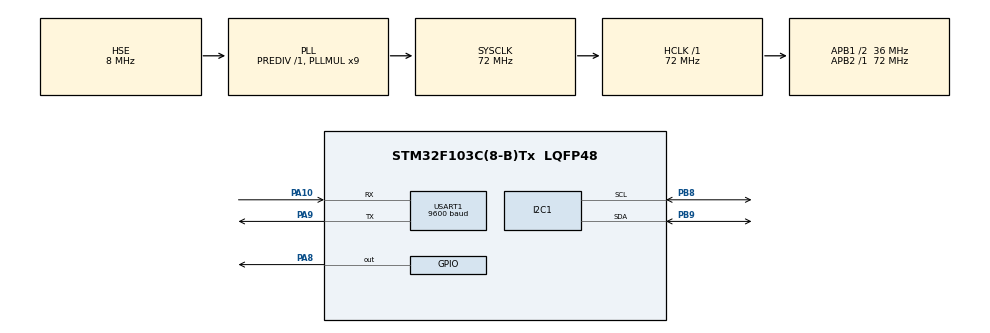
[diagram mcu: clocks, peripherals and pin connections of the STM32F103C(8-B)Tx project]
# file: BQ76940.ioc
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FREERTOS.Mutexes01=bmsDataMutex,Dynamic,NULL,Available
FREERTOS.Tasks01=SampleTask,32,128,StartSampleTask,Default,NULL,Dynamic,NULL,NULL;CommTask,8,128,StartCommTask,Default,NULL,Dynamic,NULL,NULL;balanceTask,23,128,StartbalanceTask,Default,NULL,Dynamic,NULL,NULL;protectTask,24,128,StartprotectTask,Default,NULL,Dynamic,NULL,NULL
FREERTOS.configUSE_NEWLIB_REENTRANT=1
Mcu.Family=STM32F1
Mcu.Name=STM32F103C(8-B)Tx
Mcu.Package=LQFP48
NVIC.PriorityGroup=NVIC_PRIORITYGROUP_4
NVIC.TIM1_UP_IRQn=true\:15\:0\:false\:false\:true\:false\:false\:true\:true
NVIC.TimeBase=TIM1_UP_IRQn
NVIC.TimeBaseIP=TIM1
PA10.Mode=Asynchronous
PA10.Signal=USART1_RX
PA13.Mode=Serial_Wire
PA13.Signal=SYS_JTMS-SWDIO
PA14.Mode=Serial_Wire
PA14.Signal=SYS_JTCK-SWCLK
PA8.Signal=GPIO_Output
PA9.Mode=Asynchronous
PA9.Signal=USART1_TX
PB8.Mode=I2C
PB8.Signal=I2C1_SCL
PB9.Mode=I2C
PB9.Signal=I2C1_SDA
PD0-OSC_IN.Mode=HSE-External-Oscillator
PD0-OSC_IN.Signal=RCC_OSC_IN
PD1-OSC_OUT.Mode=HSE-External-Oscillator
PD1-OSC_OUT.Signal=RCC_OSC_OUT
ProjectManager.HeapSize=0x200
ProjectManager.StackSize=0x400
ProjectManager.TargetToolchain=STM32CubeIDE
RCC.AHBFreq_Value=72000000
RCC.APB1CLKDivider=RCC_HCLK_DIV2
RCC.APB1Freq_Value=36000000
RCC.APB1TimFreq_Value=72000000
RCC.APB2Freq_Value=72000000
RCC.APB2TimFreq_Value=72000000
RCC.HCLKFreq_Value=72000000
RCC.PLLMUL=RCC_PLL_MUL9
RCC.PLLSourceVirtual=RCC_PLLSOURCE_HSE
RCC.SYSCLKFreq_VALUE=72000000
RCC.SYSCLKSource=RCC_SYSCLKSOURCE_PLLCLK
RCC.USBFreq_Value=72000000
USART1.BaudRate=9600
USART1.VirtualMode=VM_ASYNC
VP_FREERTOS_VS_CMSIS_V2.Mode=CMSIS_V2
VP_SYS_VS_tim1.Mode=TIM1
board=custom

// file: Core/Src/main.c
/* USER CODE BEGIN Header */
/**
  ******************************************************************************
  * @file           : main.c
  * @brief          : Main program body
  ******************************************************************************
  * @attention
  *
  * Copyright (c) 2026 STMicroelectronics.
  * All rights reserved.
  *
  * This software is licensed under terms that can be found in the LICENSE file
  * in the root directory of this software component.
  * If no LICENSE file comes with this software, it is provided AS-IS.
  *
  ******************************************************************************
  */
/* USER CODE END Header */
#include "main.h"
#include "cmsis_os.h"
#include "i2c.h"
#include "usart.h"
#include "gpio.h"

void SystemClock_Config(void);
void MX_FREERTOS_Init(void);

int main(void)
{

  /* MCU Configuration--------------------------------------------------------*/

  /* Reset of all peripherals, Initializes the Flash interface and the Systick. */
  HAL_Init();

  /* Configure the system clock */
  SystemClock_Config();

  /* Initialize all configured peripherals */
  MX_GPIO_Init();
  MX_I2C1_Init();
  MX_USART1_UART_Init();

  /* Init scheduler */
  osKernelInitialize();  /* Call init function for freertos objects (in cmsis_os2.c) */
  MX_FREERTOS_Init();

  /* Start scheduler */
  osKernelStart();

  /* We should never get here as control is now taken by the scheduler */

  /* Infinite loop */
  while (1)
  {

  }
}

void SystemClock_Config(void)
{
  RCC_OscInitTypeDef RCC_OscInitStruct = {0};
  RCC_ClkInitTypeDef RCC_ClkInitStruct = {0};

  /** Initializes the RCC Oscillators according to the specified parameters
  * in the RCC_OscInitTypeDef structure.
  */
  RCC_OscInitStruct.OscillatorType = RCC_OSCILLATORTYPE_HSE;
  RCC_OscInitStruct.HSEState = RCC_HSE_ON;
  RCC_OscInitStruct.HSEPredivValue = RCC_HSE_PREDIV_DIV1;
  RCC_OscInitStruct.HSIState = RCC_HSI_ON;
  RCC_OscInitStruct.PLL.PLLState = RCC_PLL_ON;
  RCC_OscInitStruct.PLL.PLLSource = RCC_PLLSOURCE_HSE;
  RCC_OscInitStruct.PLL.PLLMUL = RCC_PLL_MUL9;
  if (HAL_RCC_OscConfig(&RCC_OscInitStruct) != HAL_OK)
  {
    Error_Handler();
  }

  /** Initializes the CPU, AHB and APB buses clocks
  */
  RCC_ClkInitStruct.ClockType = RCC_CLOCKTYPE_HCLK|RCC_CLOCKTYPE_SYSCLK
                              |RCC_CLOCKTYPE_PCLK1|RCC_CLOCKTYPE_PCLK2;
  RCC_ClkInitStruct.SYSCLKSource = RCC_SYSCLKSOURCE_PLLCLK;
  RCC_ClkInitStruct.AHBCLKDivider = RCC_SYSCLK_DIV1;
  RCC_ClkInitStruct.APB1CLKDivider = RCC_HCLK_DIV2;
  RCC_ClkInitStruct.APB2CLKDivider = RCC_HCLK_DIV1;

  if (HAL_RCC_ClockConfig(&RCC_ClkInitStruct, FLASH_LATENCY_2) != HAL_OK)
  {
    Error_Handler();
  }
}

void HAL_TIM_PeriodElapsedCallback(TIM_HandleTypeDef *htim)
{
  if (htim->Instance == TIM1)
  {
    HAL_IncTick();
  }
}

void Error_Handler(void)
{
  __disable_irq();
  while (1)
  {
  }
}

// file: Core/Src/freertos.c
/* USER CODE BEGIN Header */
/**
  ******************************************************************************
  * File Name          : freertos.c
  * Description        : Code for freertos applications
  ******************************************************************************
  * @attention
  *
  * Copyright (c) 2026 STMicroelectronics.
  * All rights reserved.
  *
  * This software is licensed under terms that can be found in the LICENSE file
  * in the root directory of this software component.
  * If no LICENSE file comes with this software, it is provided AS-IS.
  *
  ******************************************************************************
  */
/* USER CODE END Header */

#include "FreeRTOS.h"
#include "task.h"
#include "main.h"
#include "cmsis_os.h"

/* USER CODE BEGIN Includes */
#include "BQ76930.h"
#include "usart.h"
#include "i2c.h"
#include "string.h"
/* USER CODE END Includes */

/* Definitions for SampleTask */
osThreadId_t SampleTaskHandle;
const osThreadAttr_t SampleTask_attributes = {
  .name = "SampleTask",
  .stack_size = 128 * 4,
  .priority = (osPriority_t) osPriorityAboveNormal,
};
/* Definitions for CommTask */
osThreadId_t CommTaskHandle;
const osThreadAttr_t CommTask_attributes = {
  .name = "CommTask",
  .stack_size = 128 * 4,
  .priority = (osPriority_t) osPriorityLow,
};
/* Definitions for balanceTask */
osThreadId_t balanceTaskHandle;
const osThreadAttr_t balanceTask_attributes = {
  .name = "balanceTask",
  .stack_size = 128 * 4,
  .priority = (osPriority_t) osPriorityBelowNormal7,
};
/* Definitions for protectTask */
osThreadId_t protectTaskHandle;
const osThreadAttr_t protectTask_attributes = {
  .name = "protectTask",
  .stack_size = 128 * 4,
  .priority = (osPriority_t) osPriorityNormal,
};
/* Definitions for bmsDataMutex */
osMutexId_t bmsDataMutexHandle;
const osMutexAttr_t bmsDataMutex_attributes = {
  .name = "bmsDataMutex"
};

void StartSampleTask(void *argument);
void StartCommTask(void *argument);
void StartbalanceTask(void *argument);
void StartprotectTask(void *argument);

void MX_FREERTOS_Init(void); /* (MISRA C 2004 rule 8.1) */

void MX_FREERTOS_Init(void) {
  /* USER CODE BEGIN Init */
  /* BQ76940 硬件初始化 (必须在调度器启动前，此时 HAL_Delay 安全) */
  HAL_UART_Transmit(&huart1, (uint8_t *)"BQ76940 HW Init...\r\n", 20, HAL_MAX_DELAY);
  WAKE_ALL_DEVICE();
  HAL_UART_Transmit(&huart1, (uint8_t *)"WAKE done\r\n", 11, HAL_MAX_DELAY);
  BQ_1_config();
  HAL_UART_Transmit(&huart1, (uint8_t *)"BQ_1_config done\r\n", 18, HAL_MAX_DELAY);
  Get_offset();
  HAL_UART_Transmit(&huart1, (uint8_t *)"Get_offset done\r\n", 17, HAL_MAX_DELAY);
  OV_UV_1_PROTECT();
  HAL_UART_Transmit(&huart1, (uint8_t *)"OV_UV_1_PROTECT done\r\n", 22, HAL_MAX_DELAY);
  OCD_SCD_PROTECT();
  HAL_UART_Transmit(&huart1, (uint8_t *)"OCD_SCD_PROTECT done\r\n", 22, HAL_MAX_DELAY);
  BQ76940_WriteByte_CRC(SYS_STAT, 0xFF);
  HAL_UART_Transmit(&huart1, (uint8_t *)"HW Init complete\r\n", 18, HAL_MAX_DELAY);
  /* USER CODE END Init */
  /* Create the mutex(es) */
  /* creation of bmsDataMutex */
  bmsDataMutexHandle = osMutexNew(&bmsDataMutex_attributes);

  /* USER CODE BEGIN RTOS_QUEUES */
  /* queues removed - using task notifications instead */
  /* USER CODE END RTOS_QUEUES */

  /* Create the thread(s) */
  /* creation of SampleTask */
  SampleTaskHandle = osThreadNew(StartSampleTask, NULL, &SampleTask_attributes);

  /* creation of CommTask */
  CommTaskHandle = osThreadNew(StartCommTask, NULL, &CommTask_attributes);

  /* creation of balanceTask */
  balanceTaskHandle = osThreadNew(StartbalanceTask, NULL, &balanceTask_attributes);

  /* creation of protectTask */
  protectTaskHandle = osThreadNew(StartprotectTask, NULL, &protectTask_attributes);

}

void StartSampleTask(void *argument)
{
  /* USER CODE BEGIN StartSampleTask */
  HAL_UART_Transmit(&huart1, (uint8_t *)"Sample Task Running\r\n", 21, HAL_MAX_DELAY);

  for(;;)
  {
    // 获取互斥量，保护数据更新
    if(osMutexAcquire(bmsDataMutexHandle, 100) == osOK)
    {
      Get_Battery1();
      Get_Battery2();
      Get_Battery5();
      Get_Battery6();
      Get_Battery7();
      Get_Battery10();
      Get_Battery11();
      Get_Battery12();
      Get_Battery15();
      Get_Update_ALL_Data();
      Get_SOC();
      Get_BQ1_2_Temp();
      Get_BQ_Current();
      BMS_STA();

      // 释放互斥量
      osMutexRelease(bmsDataMutexHandle);

      // 通知消费者任务数据已更新
      xTaskNotifyGive(CommTaskHandle);
      xTaskNotifyGive(protectTaskHandle);
    }

    osDelay(1000);
  }
  /* USER CODE END StartSampleTask */
}

void StartCommTask(void *argument)
{
  /* USER CODE BEGIN StartCommTask */
  HAL_UART_Transmit(&huart1, (uint8_t *)"BQ76940 Comm Task Starting...\r\n", 32, HAL_MAX_DELAY);

  for(;;)
  {
    ulTaskNotifyTake(pdTRUE, osWaitForever);

    // 获取互斥量，安全访问共享数据
    if(osMutexAcquire(bmsDataMutexHandle, 100) == osOK)
    {
      Update_val_usart();
      osMutexRelease(bmsDataMutexHandle);
    }
  }
  /* USER CODE END StartCommTask */
}

void StartbalanceTask(void *argument)
{
  /* USER CODE BEGIN StartbalanceTask */
  int cell_voltages[9];
  static const int cell_idx[] = {0, 1, 4, 5, 6, 9, 10, 11, 14};

  /* 平衡函数指针数组，与 cell_idx 一一对应 */
  typedef void (*BalanceFunc)(void);
  static const BalanceFunc balance_funcs[9] = {
    Battery1_Balance,  Battery2_Balance,  Battery5_Balance,
    Battery6_Balance,  Battery7_Balance,  Battery10_Balance,
    Battery11_Balance, Battery12_Balance, Battery15_Balance
  };

  HAL_UART_Transmit(&huart1, (uint8_t *)"Balance Task Starting...\r\n", 26, HAL_MAX_DELAY);

  for(;;)
  {
    osDelay(5000); // 每5秒执行一次平衡检查

    // 获取互斥量，读取电池电压数据
    if(osMutexAcquire(bmsDataMutexHandle, 100) != osOK)
      continue;

    for(int i = 0; i < 9; i++)
    {
      cell_voltages[i] = Batteryval[cell_idx[i]];
    }
    osMutexRelease(bmsDataMutexHandle);

    // 任何保护标志激活时，禁止平衡
    if(OV_FLAG || UV_FLAG || OC_FLAG || OT_Alarm_flag || UT_Alarm_flag)
    {
      if(osMutexAcquire(bmsDataMutexHandle, 100) == osOK)
      {
        Stop_Balance();
        osMutexRelease(bmsDataMutexHandle);
      }
      continue;
    }

    // 查找最小电压和最大电压(及其索引)
    int min_voltage = cell_voltages[0];
    int max_voltage = cell_voltages[0];
    int max_idx = 0;

    for(int i = 1; i < 9; i++)
    {
      if(cell_voltages[i] < min_voltage)
        min_voltage = cell_voltages[i];
      if(cell_voltages[i] > max_voltage)
      {
        max_voltage = cell_voltages[i];
        max_idx = i;
      }
    }

    // 获取互斥量，执行平衡操作
    if(osMutexAcquire(bmsDataMutexHandle, 100) != osOK)
      continue;

    if((max_voltage - min_voltage) > BALANCE_THRESHOLD_MV)
    {
      // 对最高电压电芯开启被动均衡放电
      balance_funcs[max_idx]();
    }
    else
    {
      // 电芯电压已均衡，停止平衡
      Stop_Balance();
    }

    osMutexRelease(bmsDataMutexHandle);
  }
  /* USER CODE END StartbalanceTask */
}

void StartprotectTask(void *argument)
{
  /* USER CODE BEGIN StartprotectTask */
  int cell_voltages[9];
  int current;
  float temperature;
  static const int cell_idx[] = {0, 1, 4, 5, 6, 9, 10, 11, 14};

  HAL_UART_Transmit(&huart1, (uint8_t *)"Protect Task Starting...\r\n", 26, HAL_MAX_DELAY);

  for(;;)
  {
    // 等待采样完成通知，超时2秒作为故障安全
    BaseType_t notifyResult = ulTaskNotifyTake(pdTRUE, 2000);

    if(notifyResult == 0)
    {
      // 采样任务超过2秒未更新，可能异常，执行安全动作
      if(osMutexAcquire(bmsDataMutexHandle, 100) == osOK)
      {
        Close_DSG_CHG();
        BQ76940_WriteByte_CRC(SYS_STAT, 0xFF);
        osMutexRelease(bmsDataMutexHandle);
      }
      continue;
    }

    // ==================== 阶段1: 读取数据 ====================
    if(osMutexAcquire(bmsDataMutexHandle, 100) != osOK)
      continue;

    for(int i = 0; i < 9; i++)
    {
      cell_voltages[i] = Batteryval[cell_idx[i]];
    }
    current = Batteryval[17];
    temperature = Tempval_2;

    // 读取BQ76940硬件报警标志 (SYS_STAT寄存器)
    ALERT_1_Recognition();

    osMutexRelease(bmsDataMutexHandle);

    // ==================== 阶段2: 评估保护条件 ====================
    int state_changed = 0;

    // --- 过压保护 (OV): 任一电芯 > 4200mV 关闭充电 ---
    int ov_detected = 0;
    int ov_all_recovered = 1;
    for(int i = 0; i < 9; i++)
    {
      if(cell_voltages[i] > OV_SOFT_THRESHOLD)
        ov_detected = 1;
      if(cell_voltages[i] >= OV_SOFT_RECOVERY)
        ov_all_recovered = 0;
    }

    if(ov_detected && !OV_FLAG)
    {
      OV_FLAG = 1;
      state_changed = 1;
    }
    else if(OV_FLAG && ov_all_recovered)
    {
      OV_FLAG = 0;
      state_changed = 1;
    }

    // --- 欠压保护 (UV): 任一电芯 < 2800mV 关闭放电 ---
    int uv_detected = 0;
    int uv_all_recovered = 1;
    for(int i = 0; i < 9; i++)
    {
      if(cell_voltages[i] < UV_SOFT_THRESHOLD)
        uv_detected = 1;
      if(cell_voltages[i] <= UV_SOFT_RECOVERY)
        uv_all_recovered = 0;
    }

    if(uv_detected && !UV_FLAG)
    {
      UV_FLAG = 1;
      state_changed = 1;
    }
    else if(UV_FLAG && uv_all_recovered)
    {
      UV_FLAG = 0;
      state_changed = 1;
    }

    // --- 过流保护 (OC): 电流 > 2000mA 关闭充放电 ---
    if((current > OC_THRESHOLD_MA) && !OC_FLAG)
    {
      OC_FLAG = 1;
      state_changed = 1;
    }
    else if(OC_FLAG && (current <= OC_THRESHOLD_MA))
    {
      OC_FLAG = 0;
      state_changed = 1;
    }

    // --- 过温保护 (OT): 温度 > OTPThreshold 关闭充放电 ---
    if((temperature > OTPThreshold) && !OT_Alarm_flag)
    {
      OT_Alarm_flag = 1;
      state_changed = 1;
    }
    else if(OT_Alarm_flag && (temperature <= OTPThreshold))
    {
      OT_Alarm_flag = 0;
      state_changed = 1;
    }

    // --- 低温保护 (UT): 温度 < UTPThreshold 关闭充放电 ---
    if((temperature < UTPThreshold) && !UT_Alarm_flag)
    {
      UT_Alarm_flag = 1;
      state_changed = 1;
    }
    else if(UT_Alarm_flag && (temperature >= UTPThreshold))
    {
      UT_Alarm_flag = 0;
      state_changed = 1;
    }

    // ==================== 阶段3: 根据所有标志综合控制MOS ====================
    if(osMutexAcquire(bmsDataMutexHandle, 100) != osOK)
      continue;

    // 判断当前是否有任何保护标志激活
    int any_fault = OV_FLAG || UV_FLAG || OC_FLAG || OT_Alarm_flag || UT_Alarm_flag;

    if(state_changed)
    {
      // 优先级: 关闭双MOS > 关闭单MOS > 全开
      if(OC_FLAG || OT_Alarm_flag || UT_Alarm_flag)
      {
        // 过流/过温/低温 → 关闭充电和放电MOS
        Close_DSG_CHG();
      }
      else if(OV_FLAG && UV_FLAG)
      {
        // 同时过压+欠压 → 关闭充电和放电MOS
        Close_DSG_CHG();
      }
      else if(OV_FLAG)
      {
        // 仅过压 → 关闭充电MOS，保持放电
        Only_Close_CHG();
      }
      else if(UV_FLAG)
      {
        // 仅欠压 → 关闭放电MOS，保持充电
        Only_Close_DSG();
      }
      else
      {
        // 所有保护已恢复 → 打开充电和放电MOS
        Open_DSG_CHG();
      }
    }
    else if(!any_fault)
    {
      // 兜底恢复: 所有保护标志已清零但state_changed未触发时
      // (例如: failsafe超时关闭MOS后恢复，或上电后标志本就为0)
      // 检查MOS实际状态，若关闭则重新打开
      BMS_STA();
      if(DSG_STA == 0 || CHG_STA == 0)
      {
        Open_DSG_CHG();
      }
    }

    // 每次循环都清除BQ76940状态寄存器，防止硬件报警锁死
    BQ76940_WriteByte_CRC(SYS_STAT, 0xFF);
    osMutexRelease(bmsDataMutexHandle);
  }
  /* USER CODE END StartprotectTask */
}
